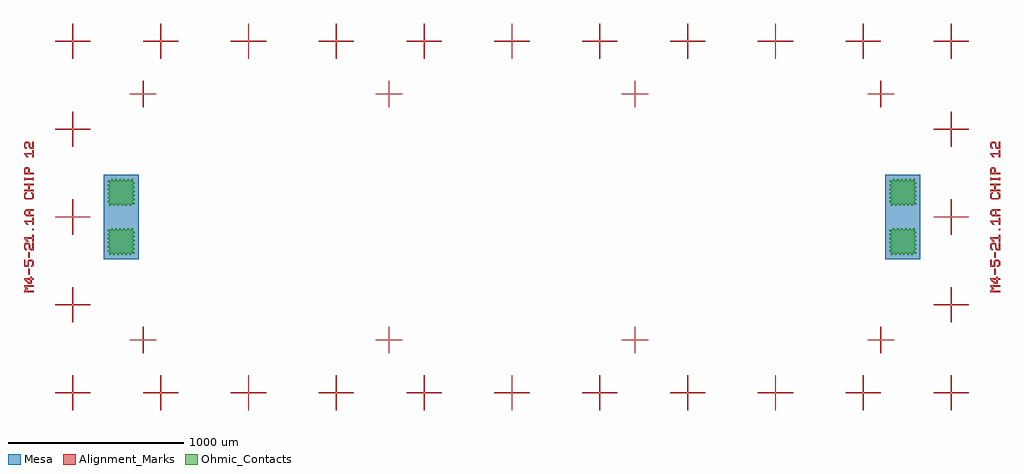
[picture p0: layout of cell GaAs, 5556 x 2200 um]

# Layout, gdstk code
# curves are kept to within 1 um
import gdstk
lib = gdstk.Library(unit=1e-6, precision=1e-09)
def R(c, l, rs):  # rectangles x0, y0, x1, y1
    for r in rs: c.add(gdstk.rectangle(r[:2], r[2:], *l))
def P(c, l, *ps):  # polygons
    for p in ps: c.add(gdstk.Polygon(p, *l))
Alignment_Marks = (1, 0)
Mesa = (2, 0)
Ohmic_Contacts = (3, 0)

gaas = lib.new_cell('GaAs')
R(gaas, Alignment_Marks, [(-2754,-328,-2746,-296), (2746,-328,2754,-296), (-2754,-232,-2746,-200), (2746,-232,2754,-200), (-2730,-76,-2722,-68), (2770,-76,2778,-68)])
P(gaas, Alignment_Marks, [(-2502.5,-1100),(-2502.5,-1002.5),(-2600,-1002.5),(-2600,-997.5),(-2502.5,-997.5),(-2502.5,-900),(-2497.5,-900),(-2497.5,-997.5),(-2400,-997.5),(-2400,-1002.5),(-2497.5,-1002.5),(-2497.5,-1100)],
  [(-2002.5,-1100),(-2002.5,-1002.5),(-2100,-1002.5),(-2100,-997.5),(-2002.5,-997.5),(-2002.5,-900),(-1997.5,-900),(-1997.5,-997.5),(-1900,-997.5),(-1900,-1002.5),(-1997.5,-1002.5),(-1997.5,-1100)],
  [(-1502.5,-1100),(-1502.5,-1002.5),(-1600,-1002.5),(-1600,-997.5),(-1502.5,-997.5),(-1502.5,-900),(-1497.5,-900),(-1497.5,-997.5),(-1400,-997.5),(-1400,-1002.5),(-1497.5,-1002.5),(-1497.5,-1100)],
  [(-1002.5,-1100),(-1002.5,-1002.5),(-1100,-1002.5),(-1100,-997.5),(-1002.5,-997.5),(-1002.5,-900),(-997.5,-900),(-997.5,-997.5),(-900,-997.5),(-900,-1002.5),(-997.5,-1002.5),(-997.5,-1100)],
  [(-502.5,-1100),(-502.5,-1002.5),(-600,-1002.5),(-600,-997.5),(-502.5,-997.5),(-502.5,-900),(-497.5,-900),(-497.5,-997.5),(-400,-997.5),(-400,-1002.5),(-497.5,-1002.5),(-497.5,-1100)],
  [(-2.5,-1100),(-2.5,-1002.5),(-100,-1002.5),(-100,-997.5),(-2.5,-997.5),(-2.5,-900),(2.5,-900),(2.5,-997.5),(100,-997.5),(100,-1002.5),(2.5,-1002.5),(2.5,-1100)],
  [(497.5,-1100),(497.5,-1002.5),(400,-1002.5),(400,-997.5),(497.5,-997.5),(497.5,-900),(502.5,-900),(502.5,-997.5),(600,-997.5),(600,-1002.5),(502.5,-1002.5),(502.5,-1100)],
  [(997.5,-1100),(997.5,-1002.5),(900,-1002.5),(900,-997.5),(997.5,-997.5),(997.5,-900),(1002.5,-900),(1002.5,-997.5),(1100,-997.5),(1100,-1002.5),(1002.5,-1002.5),(1002.5,-1100)],
  [(1497.5,-1100),(1497.5,-1002.5),(1400,-1002.5),(1400,-997.5),(1497.5,-997.5),(1497.5,-900),(1502.5,-900),(1502.5,-997.5),(1600,-997.5),(1600,-1002.5),(1502.5,-1002.5),(1502.5,-1100)],
  [(1997.5,-1100),(1997.5,-1002.5),(1900,-1002.5),(1900,-997.5),(1997.5,-997.5),(1997.5,-900),(2002.5,-900),(2002.5,-997.5),(2100,-997.5),(2100,-1002.5),(2002.5,-1002.5),(2002.5,-1100)],
  [(2497.5,-1100),(2497.5,-1002.5),(2400,-1002.5),(2400,-997.5),(2497.5,-997.5),(2497.5,-900),(2502.5,-900),(2502.5,-997.5),(2600,-997.5),(2600,-1002.5),(2502.5,-1002.5),(2502.5,-1100)],
  [(-2102.5,-775),(-2102.5,-702.5),(-2175,-702.5),(-2175,-697.5),(-2102.5,-697.5),(-2102.5,-625),(-2097.5,-625),(-2097.5,-697.5),(-2025,-697.5),(-2025,-702.5),(-2097.5,-702.5),(-2097.5,-775)],
  [(-702.5,-775),(-702.5,-702.5),(-775,-702.5),(-775,-697.5),(-702.5,-697.5),(-702.5,-625),(-697.5,-625),(-697.5,-697.5),(-625,-697.5),(-625,-702.5),(-697.5,-702.5),(-697.5,-775)],
  [(697.5,-775),(697.5,-702.5),(625,-702.5),(625,-697.5),(697.5,-697.5),(697.5,-625),(702.5,-625),(702.5,-697.5),(775,-697.5),(775,-702.5),(702.5,-702.5),(702.5,-775)],
  [(2097.5,-775),(2097.5,-702.5),(2025,-702.5),(2025,-697.5),(2097.5,-697.5),(2097.5,-625),(2102.5,-625),(2102.5,-697.5),(2175,-697.5),(2175,-702.5),(2102.5,-702.5),(2102.5,-775)],
  [(-2502.5,-600),(-2502.5,-502.5),(-2600,-502.5),(-2600,-497.5),(-2502.5,-497.5),(-2502.5,-400),(-2497.5,-400),(-2497.5,-497.5),(-2400,-497.5),(-2400,-502.5),(-2497.5,-502.5),(-2497.5,-600)],
  [(2497.5,-600),(2497.5,-502.5),(2400,-502.5),(2400,-497.5),(2497.5,-497.5),(2497.5,-400),(2502.5,-400),(2502.5,-497.5),(2600,-497.5),(2600,-502.5),(2502.5,-502.5),(2502.5,-600)],
  [(-2778,-428),(-2778,-420),(-2770,-412),(-2770,-404),(-2778,-396),(-2778,-388),(-2722,-388),(-2722,-396),(-2762,-396),(-2762,-400),(-2754,-408),(-2762,-416),(-2762,-420),(-2722,-420),(-2722,-428)],
  [(2722,-428),(2722,-420),(2730,-412),(2730,-404),(2722,-396),(2722,-388),(2778,-388),(2778,-396),(2738,-396),(2738,-400),(2746,-408),(2738,-416),(2738,-420),(2778,-420),(2778,-428)],
  [(-2754,-380),(-2778,-356),(-2762,-356),(-2762,-360),(-2750,-372),(-2742,-372),(-2742,-356),(-2778,-356),(-2778,-348),(-2742,-348),(-2742,-340),(-2734,-340),(-2734,-348),(-2722,-348),(-2722,-356),(-2734,-356),(-2734,-380)],
  [(2746,-380),(2722,-356),(2738,-356),(2738,-360),(2750,-372),(2758,-372),(2758,-356),(2722,-356),(2722,-348),(2758,-348),(2758,-340),(2766,-340),(2766,-348),(2778,-348),(2778,-356),(2766,-356),(2766,-380)],
  [(-2778,-284),(-2778,-244),(-2770,-244),(-2770,-276),(-2758,-276),(-2758,-252),(-2750,-244),(-2730,-244),(-2722,-252),(-2722,-276),(-2730,-284),(-2738,-284),(-2738,-276),(-2734,-276),(-2730,-272),(-2730,-256),(-2734,-252),(-2746,-252),(-2750,-256),(-2750,-284)],
  [(2722,-284),(2722,-244),(2730,-244),(2730,-276),(2742,-276),(2742,-252),(2750,-244),(2770,-244),(2778,-252),(2778,-276),(2770,-284),(2762,-284),(2762,-276),(2766,-276),(2770,-272),(2770,-256),(2766,-252),(2754,-252),(2750,-256),(2750,-284)],
  [(-2770,-188),(-2778,-180),(-2778,-156),(-2770,-148),(-2750,-148),(-2742,-156),(-2742,-176),(-2738,-180),(-2730,-180),(-2730,-148),(-2722,-148),(-2722,-188),(-2742,-188),(-2750,-180),(-2750,-160),(-2754,-156),(-2766,-156),(-2770,-160),(-2770,-176),(-2766,-180),(-2762,-180),(-2762,-188)],
  [(2730,-188),(2722,-180),(2722,-156),(2730,-148),(2750,-148),(2758,-156),(2758,-176),(2762,-180),(2770,-180),(2770,-148),(2778,-148),(2778,-188),(2758,-188),(2750,-180),(2750,-160),(2746,-156),(2734,-156),(2730,-160),(2730,-176),(2734,-180),(2738,-180),(2738,-188)],
  [(-2762,-140),(-2778,-124),(-2778,-116),(-2730,-116),(-2730,-100),(-2722,-100),(-2722,-140),(-2730,-140),(-2730,-124),(-2762,-124),(-2762,-128),(-2754,-136),(-2754,-140)],
  [(2738,-140),(2722,-124),(2722,-116),(2770,-116),(2770,-100),(2778,-100),(2778,-140),(2770,-140),(2770,-124),(2738,-124),(2738,-128),(2746,-136),(2746,-140)],
  [(-2762,-44),(-2778,-28),(-2778,-20),(-2730,-20),(-2730,-4),(-2722,-4),(-2722,-44),(-2730,-44),(-2730,-28),(-2762,-28),(-2762,-32),(-2754,-40),(-2754,-44)],
  [(2738,-44),(2722,-28),(2722,-20),(2770,-20),(2770,-4),(2778,-4),(2778,-44),(2770,-44),(2770,-28),(2738,-28),(2738,-32),(2746,-40),(2746,-44)],
  [(-2766,4),(-2778,16),(-2778,32),(-2774,36),(-2762,36),(-2770,28),(-2770,20),(-2762,12),(-2750,12),(-2750,36),(-2774,36),(-2766,44),(-2722,44),(-2722,36),(-2742,36),(-2742,12),(-2722,12),(-2722,4)],
  [(2734,4),(2722,16),(2722,32),(2726,36),(2738,36),(2730,28),(2730,20),(2738,12),(2750,12),(2750,36),(2726,36),(2734,44),(2778,44),(2778,36),(2758,36),(2758,12),(2778,12),(2778,4)],
  [(-2502.5,-100),(-2502.5,-2.5),(-2600,-2.5),(-2600,2.5),(-2502.5,2.5),(-2502.5,100),(-2497.5,100),(-2497.5,2.5),(-2400,2.5),(-2400,-2.5),(-2497.5,-2.5),(-2497.5,-100)],
  [(2497.5,-100),(2497.5,-2.5),(2400,-2.5),(2400,2.5),(2497.5,2.5),(2497.5,100),(2502.5,100),(2502.5,2.5),(2600,2.5),(2600,-2.5),(2502.5,-2.5),(2502.5,-100)],
  [(-2770,100),(-2778,108),(-2778,132),(-2770,140),(-2762,140),(-2762,132),(-2766,132),(-2770,128),(-2770,112),(-2766,108),(-2734,108),(-2730,112),(-2730,128),(-2734,132),(-2738,132),(-2738,140),(-2730,140),(-2722,132),(-2722,108),(-2730,100)],
  [(2730,100),(2722,108),(2722,132),(2730,140),(2738,140),(2738,132),(2734,132),(2730,128),(2730,112),(2734,108),(2766,108),(2770,112),(2770,128),(2766,132),(2762,132),(2762,140),(2770,140),(2778,132),(2778,108),(2770,100)],
  [(-2778,148),(-2778,156),(-2754,156),(-2754,180),(-2778,180),(-2778,188),(-2722,188),(-2722,180),(-2746,180),(-2746,156),(-2722,156),(-2722,148)],
  [(2722,148),(2722,156),(2746,156),(2746,180),(2722,180),(2722,188),(2778,188),(2778,180),(2754,180),(2754,156),(2778,156),(2778,148)],
  [(-2778,208),(-2778,224),(-2770,224),(-2770,220),(-2730,220),(-2730,224),(-2722,224),(-2722,208),(-2730,208),(-2730,212),(-2770,212),(-2770,208)],
  [(2722,208),(2722,224),(2730,224),(2730,220),(2770,220),(2770,224),(2778,224),(2778,208),(2770,208),(2770,212),(2730,212),(2730,208)],
  [(-2778,244),(-2778,276),(-2766,276),(-2770,272),(-2770,252),(-2754,252),(-2754,272),(-2758,276),(-2778,276),(-2770,284),(-2754,284),(-2746,276),(-2746,252),(-2722,252),(-2722,244)],
  [(2722,244),(2722,276),(2734,276),(2730,272),(2730,252),(2746,252),(2746,272),(2742,276),(2722,276),(2730,284),(2746,284),(2754,276),(2754,252),(2778,252),(2778,244)],
  [(-2762,340),(-2778,356),(-2778,364),(-2730,364),(-2730,380),(-2722,380),(-2722,340),(-2730,340),(-2730,356),(-2762,356),(-2762,352),(-2754,344),(-2754,340)],
  [(2738,340),(2722,356),(2722,364),(2770,364),(2770,380),(2778,380),(2778,340),(2770,340),(2770,356),(2738,356),(2738,352),(2746,344),(2746,340)],
  [(-2770,388),(-2778,396),(-2778,420),(-2770,428),(-2750,428),(-2742,420),(-2742,400),(-2738,396),(-2730,396),(-2730,428),(-2722,428),(-2722,388),(-2742,388),(-2750,396),(-2750,416),(-2754,420),(-2766,420),(-2770,416),(-2770,400),(-2766,396),(-2762,396),(-2762,388)],
  [(2730,388),(2722,396),(2722,420),(2730,428),(2750,428),(2758,420),(2758,400),(2762,396),(2770,396),(2770,428),(2778,428),(2778,388),(2758,388),(2750,396),(2750,416),(2746,420),(2734,420),(2730,416),(2730,400),(2734,396),(2738,396),(2738,388)],
  [(-2502.5,400),(-2502.5,497.5),(-2600,497.5),(-2600,502.5),(-2502.5,502.5),(-2502.5,600),(-2497.5,600),(-2497.5,502.5),(-2400,502.5),(-2400,497.5),(-2497.5,497.5),(-2497.5,400)],
  [(2497.5,400),(2497.5,497.5),(2400,497.5),(2400,502.5),(2497.5,502.5),(2497.5,600),(2502.5,600),(2502.5,502.5),(2600,502.5),(2600,497.5),(2502.5,497.5),(2502.5,400)],
  [(-2102.5,625),(-2102.5,697.5),(-2175,697.5),(-2175,702.5),(-2102.5,702.5),(-2102.5,775),(-2097.5,775),(-2097.5,702.5),(-2025,702.5),(-2025,697.5),(-2097.5,697.5),(-2097.5,625)],
  [(-702.5,625),(-702.5,697.5),(-775,697.5),(-775,702.5),(-702.5,702.5),(-702.5,775),(-697.5,775),(-697.5,702.5),(-625,702.5),(-625,697.5),(-697.5,697.5),(-697.5,625)],
  [(697.5,625),(697.5,697.5),(625,697.5),(625,702.5),(697.5,702.5),(697.5,775),(702.5,775),(702.5,702.5),(775,702.5),(775,697.5),(702.5,697.5),(702.5,625)],
  [(2097.5,625),(2097.5,697.5),(2025,697.5),(2025,702.5),(2097.5,702.5),(2097.5,775),(2102.5,775),(2102.5,702.5),(2175,702.5),(2175,697.5),(2102.5,697.5),(2102.5,625)],
  [(-2502.5,900),(-2502.5,997.5),(-2600,997.5),(-2600,1002.5),(-2502.5,1002.5),(-2502.5,1100),(-2497.5,1100),(-2497.5,1002.5),(-2400,1002.5),(-2400,997.5),(-2497.5,997.5),(-2497.5,900)],
  [(-2002.5,900),(-2002.5,997.5),(-2100,997.5),(-2100,1002.5),(-2002.5,1002.5),(-2002.5,1100),(-1997.5,1100),(-1997.5,1002.5),(-1900,1002.5),(-1900,997.5),(-1997.5,997.5),(-1997.5,900)],
  [(-1502.5,900),(-1502.5,997.5),(-1600,997.5),(-1600,1002.5),(-1502.5,1002.5),(-1502.5,1100),(-1497.5,1100),(-1497.5,1002.5),(-1400,1002.5),(-1400,997.5),(-1497.5,997.5),(-1497.5,900)],
  [(-1002.5,900),(-1002.5,997.5),(-1100,997.5),(-1100,1002.5),(-1002.5,1002.5),(-1002.5,1100),(-997.5,1100),(-997.5,1002.5),(-900,1002.5),(-900,997.5),(-997.5,997.5),(-997.5,900)],
  [(-502.5,900),(-502.5,997.5),(-600,997.5),(-600,1002.5),(-502.5,1002.5),(-502.5,1100),(-497.5,1100),(-497.5,1002.5),(-400,1002.5),(-400,997.5),(-497.5,997.5),(-497.5,900)],
  [(-2.5,900),(-2.5,997.5),(-100,997.5),(-100,1002.5),(-2.5,1002.5),(-2.5,1100),(2.5,1100),(2.5,1002.5),(100,1002.5),(100,997.5),(2.5,997.5),(2.5,900)],
  [(497.5,900),(497.5,997.5),(400,997.5),(400,1002.5),(497.5,1002.5),(497.5,1100),(502.5,1100),(502.5,1002.5),(600,1002.5),(600,997.5),(502.5,997.5),(502.5,900)],
  [(997.5,900),(997.5,997.5),(900,997.5),(900,1002.5),(997.5,1002.5),(997.5,1100),(1002.5,1100),(1002.5,1002.5),(1100,1002.5),(1100,997.5),(1002.5,997.5),(1002.5,900)],
  [(1497.5,900),(1497.5,997.5),(1400,997.5),(1400,1002.5),(1497.5,1002.5),(1497.5,1100),(1502.5,1100),(1502.5,1002.5),(1600,1002.5),(1600,997.5),(1502.5,997.5),(1502.5,900)],
  [(1997.5,900),(1997.5,997.5),(1900,997.5),(1900,1002.5),(1997.5,1002.5),(1997.5,1100),(2002.5,1100),(2002.5,1002.5),(2100,1002.5),(2100,997.5),(2002.5,997.5),(2002.5,900)],
  [(2497.5,900),(2497.5,997.5),(2400,997.5),(2400,1002.5),(2497.5,1002.5),(2497.5,1100),(2502.5,1100),(2502.5,1002.5),(2600,1002.5),(2600,997.5),(2502.5,997.5),(2502.5,900)])
R(gaas, Mesa, [(-2325,-240,-2125,240), (2125,-240,2325,240)])
P(gaas, Ohmic_Contacts, [(2160.657,63.008),(2155,70),(2161.367,74.242),(2161.615,77.071),(2148.071,86.97),(2149.298,89.798),(2160.702,96.869),(2161.929,99.697),(2149.71,108.182),(2148.008,111.01),(2161.992,122.323),(2160.29,125.152),(2148.071,133.636),(2149.298,136.465),(2160.702,143.535),(2161.929,146.364),(2149.71,154.848),(2148.008,157.677),(2161.992,168.99),(2160.29,171.818),(2148.071,180.303),(2149.298,183.131),(2160.702,190.202),(2161.929,193.03),(2149.71,201.515),(2148.633,205.758),(2155,210),(2159.242,203.633),(2162.071,203.385),(2171.97,216.929),(2174.798,215.702),(2181.869,204.298),(2184.697,203.071),(2193.182,215.29),(2196.01,216.992),(2207.323,203.008),(2210.152,204.71),(2218.636,216.929),(2221.465,215.702),(2228.535,204.298),(2231.364,203.071),(2239.848,215.29),(2242.677,216.992),(2253.99,203.008),(2256.818,204.71),(2265.303,216.929),(2268.131,215.702),(2275.202,204.298),(2278.03,203.071),(2286.515,215.29),(2290.758,216.367),(2295,210),(2288.633,205.758),(2288.385,202.929),(2301.929,193.03),(2300.702,190.202),(2289.298,183.131),(2288.071,180.303),(2300.29,171.818),(2301.992,168.99),(2288.008,157.677),(2289.71,154.848),(2301.929,146.364),(2300.702,143.535),(2289.298,136.465),(2288.071,133.636),(2300.29,125.152),(2301.992,122.323),(2288.008,111.01),(2289.71,108.182),(2301.929,99.697),(2300.702,96.869),(2289.298,89.798),(2288.071,86.97),(2300.29,78.485),(2301.367,74.242),(2295,70),(2290.758,76.367),(2287.929,76.615),(2278.03,63.071),(2275.202,64.298),(2268.131,75.702),(2265.303,76.929),(2256.818,64.71),(2253.99,63.008),(2242.677,76.992),(2239.848,75.29),(2231.364,63.071),(2228.535,64.298),(2221.465,75.702),(2218.636,76.929),(2210.152,64.71),(2207.323,63.008),(2196.01,76.992),(2193.182,75.29),(2184.697,63.071),(2181.869,64.298),(2174.798,75.702),(2171.97,76.929),(2163.485,64.71)],
  [(2160.657,-216.992),(2155,-210),(2161.367,-205.758),(2161.615,-202.929),(2148.071,-193.03),(2149.298,-190.202),(2160.702,-183.131),(2161.929,-180.303),(2149.71,-171.818),(2148.008,-168.99),(2161.992,-157.677),(2160.29,-154.848),(2148.071,-146.364),(2149.298,-143.535),(2160.702,-136.465),(2161.929,-133.636),(2149.71,-125.152),(2148.008,-122.323),(2161.992,-111.01),(2160.29,-108.182),(2148.071,-99.697),(2149.298,-96.869),(2160.702,-89.798),(2161.929,-86.97),(2149.71,-78.485),(2148.633,-74.242),(2155,-70),(2159.242,-76.367),(2162.071,-76.615),(2171.97,-63.071),(2174.798,-64.298),(2181.869,-75.702),(2184.697,-76.929),(2193.182,-64.71),(2196.01,-63.008),(2207.323,-76.992),(2210.152,-75.29),(2218.636,-63.071),(2221.465,-64.298),(2228.535,-75.702),(2231.364,-76.929),(2239.848,-64.71),(2242.677,-63.008),(2253.99,-76.992),(2256.818,-75.29),(2265.303,-63.071),(2268.131,-64.298),(2275.202,-75.702),(2278.03,-76.929),(2286.515,-64.71),(2290.758,-63.633),(2295,-70),(2288.633,-74.242),(2288.385,-77.071),(2301.929,-86.97),(2300.702,-89.798),(2289.298,-96.869),(2288.071,-99.697),(2300.29,-108.182),(2301.992,-111.01),(2288.008,-122.323),(2289.71,-125.152),(2301.929,-133.636),(2300.702,-136.465),(2289.298,-143.535),(2288.071,-146.364),(2300.29,-154.848),(2301.992,-157.677),(2288.008,-168.99),(2289.71,-171.818),(2301.929,-180.303),(2300.702,-183.131),(2289.298,-190.202),(2288.071,-193.03),(2300.29,-201.515),(2301.367,-205.758),(2295,-210),(2290.758,-203.633),(2287.929,-203.385),(2278.03,-216.929),(2275.202,-215.702),(2268.131,-204.298),(2265.303,-203.071),(2256.818,-215.29),(2253.99,-216.992),(2242.677,-203.008),(2239.848,-204.71),(2231.364,-216.929),(2228.535,-215.702),(2221.465,-204.298),(2218.636,-203.071),(2210.152,-215.29),(2207.323,-216.992),(2196.01,-203.008),(2193.182,-204.71),(2184.697,-216.929),(2181.869,-215.702),(2174.798,-204.298),(2171.97,-203.071),(2163.485,-215.29)],
  [(-2289.343,63.008),(-2295,70),(-2288.633,74.242),(-2288.385,77.071),(-2301.929,86.97),(-2300.702,89.798),(-2289.298,96.869),(-2288.071,99.697),(-2300.29,108.182),(-2301.992,111.01),(-2288.008,122.323),(-2289.71,125.152),(-2301.929,133.636),(-2300.702,136.465),(-2289.298,143.535),(-2288.071,146.364),(-2300.29,154.848),(-2301.992,157.677),(-2288.008,168.99),(-2289.71,171.818),(-2301.929,180.303),(-2300.702,183.131),(-2289.298,190.202),(-2288.071,193.03),(-2300.29,201.515),(-2301.367,205.758),(-2295,210),(-2290.758,203.633),(-2287.929,203.385),(-2278.03,216.929),(-2275.202,215.702),(-2268.131,204.298),(-2265.303,203.071),(-2256.818,215.29),(-2253.99,216.992),(-2242.677,203.008),(-2239.848,204.71),(-2231.364,216.929),(-2228.535,215.702),(-2221.465,204.298),(-2218.636,203.071),(-2210.152,215.29),(-2207.323,216.992),(-2196.01,203.008),(-2193.182,204.71),(-2184.697,216.929),(-2181.869,215.702),(-2174.798,204.298),(-2171.97,203.071),(-2163.485,215.29),(-2159.242,216.367),(-2155,210),(-2161.367,205.758),(-2161.615,202.929),(-2148.071,193.03),(-2149.298,190.202),(-2160.702,183.131),(-2161.929,180.303),(-2149.71,171.818),(-2148.008,168.99),(-2161.992,157.677),(-2160.29,154.848),(-2148.071,146.364),(-2149.298,143.535),(-2160.702,136.465),(-2161.929,133.636),(-2149.71,125.152),(-2148.008,122.323),(-2161.992,111.01),(-2160.29,108.182),(-2148.071,99.697),(-2149.298,96.869),(-2160.702,89.798),(-2161.929,86.97),(-2149.71,78.485),(-2148.633,74.242),(-2155,70),(-2159.242,76.367),(-2162.071,76.615),(-2171.97,63.071),(-2174.798,64.298),(-2181.869,75.702),(-2184.697,76.929),(-2193.182,64.71),(-2196.01,63.008),(-2207.323,76.992),(-2210.152,75.29),(-2218.636,63.071),(-2221.465,64.298),(-2228.535,75.702),(-2231.364,76.929),(-2239.848,64.71),(-2242.677,63.008),(-2253.99,76.992),(-2256.818,75.29),(-2265.303,63.071),(-2268.131,64.298),(-2275.202,75.702),(-2278.03,76.929),(-2286.515,64.71)],
  [(-2289.343,-216.992),(-2295,-210),(-2288.633,-205.758),(-2288.385,-202.929),(-2301.929,-193.03),(-2300.702,-190.202),(-2289.298,-183.131),(-2288.071,-180.303),(-2300.29,-171.818),(-2301.992,-168.99),(-2288.008,-157.677),(-2289.71,-154.848),(-2301.929,-146.364),(-2300.702,-143.535),(-2289.298,-136.465),(-2288.071,-133.636),(-2300.29,-125.152),(-2301.992,-122.323),(-2288.008,-111.01),(-2289.71,-108.182),(-2301.929,-99.697),(-2300.702,-96.869),(-2289.298,-89.798),(-2288.071,-86.97),(-2300.29,-78.485),(-2301.367,-74.242),(-2295,-70),(-2290.758,-76.367),(-2287.929,-76.615),(-2278.03,-63.071),(-2275.202,-64.298),(-2268.131,-75.702),(-2265.303,-76.929),(-2256.818,-64.71),(-2253.99,-63.008),(-2242.677,-76.992),(-2239.848,-75.29),(-2231.364,-63.071),(-2228.535,-64.298),(-2221.465,-75.702),(-2218.636,-76.929),(-2210.152,-64.71),(-2207.323,-63.008),(-2196.01,-76.992),(-2193.182,-75.29),(-2184.697,-63.071),(-2181.869,-64.298),(-2174.798,-75.702),(-2171.97,-76.929),(-2163.485,-64.71),(-2159.242,-63.633),(-2155,-70),(-2161.367,-74.242),(-2161.615,-77.071),(-2148.071,-86.97),(-2149.298,-89.798),(-2160.702,-96.869),(-2161.929,-99.697),(-2149.71,-108.182),(-2148.008,-111.01),(-2161.992,-122.323),(-2160.29,-125.152),(-2148.071,-133.636),(-2149.298,-136.465),(-2160.702,-143.535),(-2161.929,-146.364),(-2149.71,-154.848),(-2148.008,-157.677),(-2161.992,-168.99),(-2160.29,-171.818),(-2148.071,-180.303),(-2149.298,-183.131),(-2160.702,-190.202),(-2161.929,-193.03),(-2149.71,-201.515),(-2148.633,-205.758),(-2155,-210),(-2159.242,-203.633),(-2162.071,-203.385),(-2171.97,-216.929),(-2174.798,-215.702),(-2181.869,-204.298),(-2184.697,-203.071),(-2193.182,-215.29),(-2196.01,-216.992),(-2207.323,-203.008),(-2210.152,-204.71),(-2218.636,-216.929),(-2221.465,-215.702),(-2228.535,-204.298),(-2231.364,-203.071),(-2239.848,-215.29),(-2242.677,-216.992),(-2253.99,-203.008),(-2256.818,-204.71),(-2265.303,-216.929),(-2268.131,-215.702),(-2275.202,-204.298),(-2278.03,-203.071),(-2286.515,-215.29)])

lib.write_gds('GaAs.gds')
